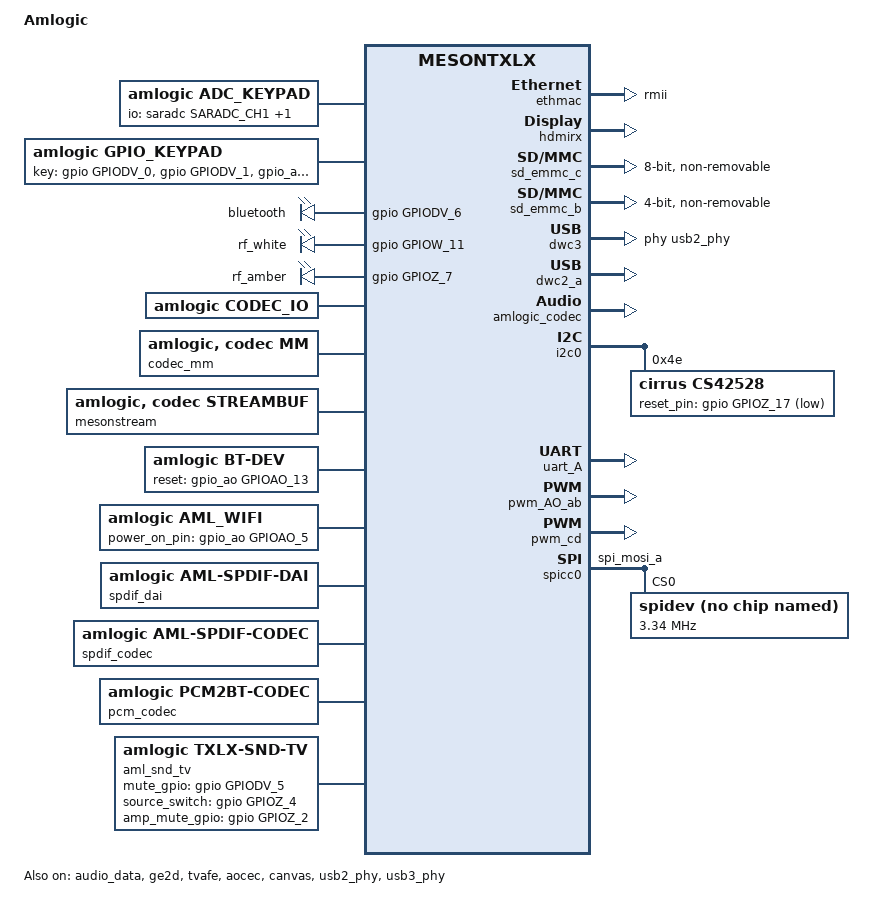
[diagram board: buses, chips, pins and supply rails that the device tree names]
/*
 * arch/arm64/boot/dts/amlogic/atom.dts
 *
 * Copyright (C) 2017 Amlogic, Inc. All rights reserved.
 *
 * This program is free software; you can redistribute it and/or modify
 * it under the terms of the GNU General Public License as published by
 * the Free Software Foundation; either version 2 of the License, or
 * (at your option) any later version.
 *
 * This program is distributed in the hope that it will be useful, but WITHOUT
 * ANY WARRANTY; without even the implied warranty of MERCHANTABILITY or
 * FITNESS FOR A PARTICULAR PURPOSE.  See the GNU General Public License for
 * more details.
 *
 */

/dts-v1/;
#include <dt-bindings/gpio/meson-txlx-gpio.h>
#include <dt-bindings/gpio/gpio.h>

#include "mesontxlx.dtsi"
#include "partition_mbox_normal.dtsi"

/ {
	model = "Amlogic";
	amlogic-dt-id = "atom";
	compatible = "amlogic, txlx";
	interrupt-parent = <&gic>;
	#address-cells = <2>;
	#size-cells = <2>;

	aliases {
		serial0 = &uart_AO;
		serial1 = &uart_A;
		serial2 = &uart_B;
		serial3 = &uart_C;
		serial4 = &uart_AO_B;
	};

	ion_dev {
		compatible = "amlogic, ion_dev";
		memory-region = <&ion_reserved>;
	};

	memory@00000000 {
		device_type = "memory";
		linux,usable-memory = <0x0 0x0 0x0 0x80000000>;
	};

	reserved-memory {
		#address-cells = <2>;
		#size-cells = <2>;
		ranges;
		/* global autoconfigured region for contiguous allocations */
		ramoops@0x07400000 {
			compatible = "ramoops";
			reg = <0x0 0x07400000 0x0 0x00100000>;
			record-size = <0x8000>;
			console-size = <0x8000>;
			ftrace-size = <0x20000>;
		};
		secmon_reserved:linux,secmon {
			compatible = "shared-dma-pool";
			reusable;
			size = <0x0 0x400000>;
			alignment = <0x0 0x400000>;
			alloc-ranges = <0x0 0x05000000 0x0 0x400000>;
		};

		//secos_reserved:linux,secos {
		//	status = "disabled";
		//	compatible = "amlogic, aml_secos_memory";
		//	reg = <0x0 0x05300000 0x0 0x2000000>;
		//	no-map;
		//};



		logo_reserved:linux,meson-fb {
			compatible = "shared-dma-pool";
			reusable;
			size = <0x0 0x800000>;
			alignment = <0x0 0x400000>;
			alloc-ranges = <0x0 0x7f800000 0x0 0x800000>;
		};

		//carveout_reserved:linux,carveout-reserve {
		//	compatible = "amlogic, idev-mem";
		//	size = <0x0 0x1000>;
		//};

		ion_reserved:linux,ion-dev {
			compatible = "shared-dma-pool";
			reusable;
			size = <0x0 0x7C00000>;
			alignment = <0x0 0x400000>;
		};

		/*di CMA pool */
		di_cma_reserved:linux,di_cma {
			compatible = "shared-dma-pool";
			reusable;
			/* buffer_size = 3621952(yuv422 8bit)
			 *  | 4736064(yuv422 10bit)
			 *  | 4179008(yuv422 10bit full pack mode)
			 * 10x3621952=34.6M(0x23) support 8bit
			 * 10x4736064=45.2M(0x2e) support 12bit
			 * 10x4179008=40M(0x28) support 10bit
			 */
			size = <0x0 0x02800000>;
			alignment = <0x0 0x400000>;
		};

		/* POST PROCESS MANAGER */
		ppmgr_reserved:linux,ppmgr {
			compatible = "amlogic, ppmgr_memory";
			size = <0x0 0x0>;
		};

		codec_mm_cma:linux,codec_mm_cma {
			compatible = "shared-dma-pool";
			reusable;
			/* ion_codec_mm max can alloc size 80M*/
			size = <0x0 0x13400000>;
			alignment = <0x0 0x400000>;
			linux,contiguous-region;
		};

		picdec_cma_reserved:linux,picdec {
			compatible = "shared-dma-pool";
			reusable;
			size = <0x0 0x0>;
			alignment = <0x0 0x0>;
			linux,contiguous-region;
		};

		/* codec shared reserved */
		codec_mm_reserved:linux,codec_mm_reserved {
			compatible = "amlogic, codec-mm-reserved";
			size = <0x0 0x0>;
			alignment = <0x0 0x100000>;
			//no-map;
		};

		demod_cma_reserved:linux,demod_cma {
			compatible = "shared-dma-pool";
			reusable;
			/* 5M */
			size = <0x0 0x0800000>;
			alignment = <0x0 0x400000>;
		};

		/*  vdin1 CMA pool */
		vdin1_cma_reserved:linux,vdin1_cma {
			compatible = "shared-dma-pool";
			linux,phandle = <5>;
			reusable;
			/* 1920x1080x2x4  =16+4 M */
			size = <0x0 0x01400000>;
			alignment = <0x0 0x400000>;
		};

		/*vbi reserved mem*/
		vbi_reserved:linux,vbi {
			compatible = "amlogic, vbi-mem";
			size = <0x0 0x100000>;
		};
	};

	/* for external keypad */
	adc_keypad {
		compatible = "amlogic, adc_keypad";
		status = "okay";
		key_name = "vol+","vol-","woofer_pairing";
		key_num = <3>;
		io-channels = <&saradc SARADC_CH1>,
					<&saradc SARADC_CH2>;
		io-channel-names = "key-chan-1", "key-chan-2";
		key_chan = <SARADC_CH1 SARADC_CH1 SARADC_CH2>;
		key_code = <115 114 600>;
		key_val = <0 180 0>; //val=voltage/1800mV*1023
		key_tolerance = <40 40 40>;
	};

	gpio_keypad{
	    compatible = "amlogic, gpio_keypad";
	    status = "okay";
	    scan_period = <20>;
	    key_num = <3>;
	    key_name = "source", "bt_paring", "mute";
	    key_code = <466 218 248>;
	    key-gpios = <&gpio GPIODV_0 GPIO_ACTIVE_HIGH
			&gpio GPIODV_1 GPIO_ACTIVE_HIGH
			&gpio_ao GPIOAO_3 GPIO_ACTIVE_HIGH>;
		detect_mode = <0>;/*0:polling mode, 1:irq mode*/
	};

	gpioleds {
		compatible = "gpio-leds";
		status = "okay";

		bluetooth {
			label = "bluetooth";
			gpios = <&gpio GPIODV_6 GPIO_ACTIVE_HIGH>;
			default-state = "off"; /* keep/on/off */
			linux,default-trigger = "none";
		};

		rf_white {
			label = "rf_white";
			gpios = <&gpio GPIOW_11 (GPIO_OPEN_DRAIN |
					GPIO_ACTIVE_HIGH)>;
			default-state = "off"; /* keep/on/off */
			linux,default-trigger = "none";
		};

		rf_amber {
			label = "rf_amber";
			gpios = <&gpio GPIOZ_7 GPIO_ACTIVE_HIGH>;
			default-state = "off"; /* keep/on/off */
			linux,default-trigger = "none";
		};

	};

	pwmleds {
		compatible = "pwm-leds";
		status = "disabled";
		pinctrl-names = "default";
		pinctrl-0 = <&pwmleds_pins>;

		sys {
			active-low;
			label = "sysled";
			max-brightness = <255>;
			pwms = <&pwm_AO_ab 0 50000 0>;
		};
	};

	ethmac: ethernet@0xff3f0000 {
		compatible = "amlogic, gxbb-eth-dwmac";
		status = "okay";
		reg = <0x0 0xff3f0000 0x0 0x10000
			0x0 0xff634540 0x0 0x8
			0x0 0xff634558 0x0 0xc
			0x0 0xffd01084 0x0 0x4>;
		interrupts = <0 8 1
				0 9 1>;

		phy-mode= "rmii";
		mc_val_internal_phy = <0x1804>;
		mc_val_external_phy = <0x1621>;
		interrupt-names = "macirq",
				"phyirq";
		clocks = <&clkc CLKID_ETH_CORE>;
		clock-names = "ethclk81";
		internal_phy = <1>;
	};

	vout {
		compatible = "amlogic, vout";
		dev_name = "vout";
		status = "okay";
		fr_auto_policy = <0>;
	};

	meson-fb {
		compatible = "amlogic, meson-txlx";
		memory-region = <&logo_reserved>;
		dev_name = "meson-fb";
		status = "okay";
		interrupts = <0 3 1
			0 89 1>;
		interrupt-names = "viu-vsync", "rdma";
		mem_size = <0x00800000 0x01800000 0x00100000>;
		/* uboot logo,fb0/fb1 memory size,if afbcd fb0=0x01851000*/
		display_mode_default = "1080p60hz";
		/* 0:VPU free scale 1:OSD free scale 2:OSD super scale */
		scale_mode = <1>;
		/* 1920*1080*4*3 = 0x17BB000 */
		display_size_default = <1920 1080 1920 3240 32>;
		pxp_mode = <0>; /** 0:normal mode 1:pxp mode */
		logo_addr = "0x7f800000";
	};

	ge2d {
		compatible = "amlogic, ge2d-txlx";
		dev_name = "ge2d";
		status = "okay";
		interrupts = <0 150 1>;
		interrupt-names = "ge2d";
		clocks = <&clkc CLKID_VAPB_MUX>,
			<&clkc CLKID_G2D>,
			<&clkc CLKID_GE2D_GATE>;
		clock-names = "clk_vapb_0",
			"clk_ge2d",
			"clk_ge2d_gate";
		reg = <0x0 0xff940000 0x0 0x10000>;
	};

	codec_io {
		compatible = "amlogic, codec_io";
		status = "okay";
		#address-cells=<2>;
		#size-cells=<2>;
		ranges;
		io_cbus_base{
			reg = <0x0 0xffd00000 0x0 0x100000>;
		};
		io_dos_base{
			reg = <0x0 0xff620000 0x0 0x10000>;
		};
		io_hiubus_base{
			reg = <0x0 0xff63c000 0x0 0x2000>;
		};
		io_aobus_base{
			reg = <0x0 0xff800000 0x0 0x10000>;
		};
		io_vcbus_base{
			reg = <0x0 0xff900000 0x0 0x40000>;
		};
		io_dmc_base{
			reg = <0x0 0xff638000 0x0 0x2000>;
		};
	};

	codec_mm {
		compatible = "amlogic, codec, mm";
		memory-region = <&codec_mm_cma &codec_mm_reserved>;
		dev_name = "codec_mm";
		status = "okay";
	};

	mesonstream {
		compatible = "amlogic, codec, streambuf";
		dev_name = "mesonstream";
		status = "okay";
		clocks = <&clkc CLKID_DOS_PARSER
			&clkc CLKID_DEMUX
			&clkc CLKID_DOS
			&clkc CLKID_VDEC_MUX
			&clkc CLKID_HCODEC_MUX
			&clkc CLKID_HEVC_MUX>;
		clock-names = "parser_top",
			"demux",
			"vdec",
			"clk_vdec_mux",
			"clk_hcodec_mux",
			"clk_hevc_mux";
	};

	vdec {
		compatible = "amlogic, vdec";
		dev_name = "vdec.0";
		status = "okay";
		interrupts = <0 3 1
			0 23 1
			0 32 1
			0 43 1
			0 44 1
			0 45 1>;
		interrupt-names = "vsync",
			"demux",
			"parser",
			"mailbox_0",
			"mailbox_1",
			"mailbox_2";
	};

	meson-amvideom {
		compatible = "amlogic, amvideom";
		dev_name = "amvideom";
		status = "okay";
		interrupts = <0 3 1>;
		interrupt-names = "vsync";
	};



	amvideocap {
		compatible = "amlogic, amvideocap";
		dev_name = "amvideocap.0";
		status = "disabled";
		max_size = <8>;//8M
	};

	picdec {
		compatible = "amlogic, picdec";
		memory-region = <&picdec_cma_reserved>;
		dev_name = "picdec";
		status = "disabled";
	};

	ppmgr {
		compatible = "amlogic, ppmgr";
		memory-region = <&ppmgr_reserved>;
		dev_name = "ppmgr";
		status = "okay";
	};

	deinterlace {
		compatible = "amlogic, deinterlace";
		status = "okay";
		/* 0:use reserved; 1:use cma; 2:use cma as reserved */
		flag_cma = <1>;
		//memory-region = <&di_reserved>;
		memory-region = <&di_cma_reserved>;
		interrupts = <0 46 1
				0 6 1>;
		interrupt-names = "de_irq";
		clocks = <&clkc CLKID_VPU_MUX>,
			<&clkc CLKID_FCLK_DIV4>,
			<&clkc CLKID_VPU_CLKB_TMP_COMP>,
			<&clkc CLKID_VPU_CLKB_COMP>;
		clock-names = "vpu_mux",
			"fclk_div4",
			"vpu_clkb_tmp_composite",
			"vpu_clkb_composite";
		clock-range = <250 500>;
		/* buffer-size = <3621952>;(yuv422 8bit) */
		buffer-size = <4179008>;/*yuv422 fullpack*/
		/* reserve-iomap = "true"; */
		/* if enable nr10bit, set nr10bit-support to 1 */
		nr10bit-support = <1>;
	};
	ionvideo {
		compatible = "amlogic, ionvideo";
		dev_name = "ionvideo";
		status = "okay";
	};

	amlvideo {
		compatible = "amlogic, amlvideo";
		dev_name = "amlvideo";
		status = "okay";
	};

	amlvideo2_0 {
		compatible = "amlogic, amlvideo2";
		dev_name = "amlvideo2";
		status = "okay";
		amlvideo2_id = <0>;
		cma_mode = <1>;
	};

	amlvideo2_1 {
		compatible = "amlogic, amlvideo2";
		dev_name = "amlvideo2";
		status = "okay";
		amlvideo2_id = <1>;
		cma_mode = <1>;
	};

	hdmirx {
		compatible = "amlogic, hdmirx_txlx";
		#address-cells=<1>;
		#size-cells=<1>;
		dev_name = "hdmirx";
		status = "okay";
		pinctrl-names = "hdmirx_pins";
		pinctrl-0 = <&hdmirx_a_mux &hdmirx_b_mux &hdmirx_d_mux>;
		repeat = <0>;
		interrupts = <0 56 1>;
		clocks = <&clkc CLKID_HDMIRX_MODET_COMP>,
			   <&clkc CLKID_HDMIRX_CFG_COMP>,
			   <&clkc CLKID_HDMIRX_ACR_COMP>,
			   <&clkc CLKID_HDMIRX_AUDMEAS_COMP>,
			   <&xtal>,
			   <&clkc CLKID_FCLK_DIV5>,
			   <&clkc CLKID_FCLK_DIV7>,
			   <&clkc CLKID_HDCP22_SKP_COMP>,
			   <&clkc CLKID_HDCP22_ESM_COMP>;
		//	   <&clkc CLK_AUD_PLL2FS>,
		//	   <&clkc CLK_AUD_PLL4FS>,
		//	   <&clkc CLK_AUD_OUT>;
		clock-names = "hdmirx_modet_clk",
			"hdmirx_cfg_clk",
				"hdmirx_acr_ref_clk",
				"hdmirx_audmeas_clk",
				"xtal",
				"fclk_div5",
				"fclk_div7",
				"hdcp_rx22_skp",
				"hdcp_rx22_esm";
		//		"hdmirx_aud_pll2fs",
		//		"hdmirx_aud_pll4f",
		//		"clk_aud_out";
		hdmirx_id = <0>;
		en_4k_2_2k = <0>;
		reg = <0x0 0xffd26000 0x0 0xa00000
			0x0 0xff63C000 0x0 0x2000
			0x0 0xffe0d000 0x0 0x2000
			0x0 0xff63e000 0x0 0x2000
			0x0 0x0 0x0 0x0
			0x0 0xff634400 0x0 0x2000
			0x0 0xff646000 0x0 0x2000>;
	};

	vdin0 {
		compatible = "amlogic, vdin";
		/*memory-region = <&vdin0_cma_reserved>;*/
		dev_name = "vdin0";
		status = "okay";
		reserve-iomap = "true";
		flag_cma = <1>;/*1:share with codec_mm;2:cma alone*/
		/* MByte, if 10bit disable: 64M(YUV422),
		 * if 10bit enable: 64*1.5 = 96M(YUV422)
		 * if support 4K2K-YUV444-10bit-WR:3840*2160*4*4 ~= 128M
		 * if support 4K2K-YUV444-10bit-WR:3840*2160*4*6 ~= 190M
		 * if support 4K2K-YUV422-10bit-wr:3840*2160*3*4 ~= 96M
		 * if support 4K2K-YUV422-8BIT-WR:3840*2160*2*4 ~= 64M
		 * if support 1080p-YUV422-8BIT-WR:1920*1080*2*4 ~= 16M
		 */
		cma_size = <190>;
		interrupts = <0 83 1>;
		rdma-irq = <2>;
		clocks = <&clkc CLKID_FCLK_DIV5>,
			<&clkc CLKID_VDIN_MEAS_COMP>;
		clock-names = "fclk_div5", "cts_vdin_meas_clk";
		vdin_id = <0>;
		/* vdin write mem color depth support:
		 * bit0:support 8bit
		 * bit1:support 9bit
		 * bit2:support 10bit
		 * bit3:support 12bit
		 * bit4:support yuv422 10bit full pack mode (from txl new add)
		 */
		tv_bit_mode = <21>;
	};

	vdin1 {
		compatible = "amlogic, vdin";
		memory-region = <&vdin1_cma_reserved>;
		dev_name = "vdin1";
		status = "okay";
		reserve-iomap = "true";
		flag_cma = <0>;/*1:share with codec_mm;0:cma alone*/
		interrupts = <0 85 1>;
		rdma-irq = <4>;
		clocks = <&clkc CLKID_FCLK_DIV5>,
			<&clkc CLKID_VDIN_MEAS_COMP>;
		clock-names = "fclk_div5", "cts_vdin_meas_clk";
		vdin_id = <1>;
		/* vdin write mem color depth support:
		 * bit0:support 8bit
		 * bit1:support 9bit
		 * bit2:support 10bit
		 * bit3:support 12bit
		 */
		tv_bit_mode = <1>;
	};

	tvafe {
		compatible = "amlogic, tvafe-txlx";
		/*memory-region = <&tvafe_cma_reserved>;*/
		dev_name = "tvafe";
		status = "okay";
		flag_cma = <1>;/*1:share with codec_mm;0:cma alone*/
		cma_size = <5>;/*MByte*/
		reg = <0x0 0xff642000 0x0 0x2000>;/*tvafe reg base*/
		reserve-iomap = "true";
		tvafe_id = <0>;
		//pinctrl-names = "default";
		/*!!particular sequence, no more and no less!!!*/
		tvafe_pin_mux = <
				3 /* TVAFE_CVBS_IN2, CVBS_IN0 = 0 */
				1 /* TVAFE_CVBS_IN0, CVBS_IN1 */
				2 /* TVAFE_CVBS_IN1, CVBS_IN2 */
				4 /* TVAFE_CVBS_IN3, CVBS_IN3 */
		>;
		clocks = <&clkc CLKID_DAC_CLK>;
		clock-names = "vdac_clk_gate";
	};

	vbi {
		compatible = "amlogic, vbi";
		memory-region = <&vbi_reserved>;
		dev_name = "vbi";
		status = "okay";
		interrupts = <0 83 1>;
		reserve-iomap = "true";
	};

	tvafe_avin_detect {
		compatible = "amlogic, tvafe_avin_detect";
		dev_name = "tvafe_avin_detect";
		status = "okay";
		device_mask = <1>;/*bit0:ch1;bit1:ch2*/
		interrupts = <0 12 1>,
				<0 13 1>;
	};

	amlvecm {
		compatible = "amlogic, vecm";
		dev_name = "aml_vecm";
		status = "okay";
		gamma_en = <0>;/*1:enabel ;0:disable*/
		wb_en = <0>;/*1:enabel ;0:disable*/
		cm_en = <0>;/*1:enabel ;0:disable*/
		wb_sel = <0>;/*1:mtx ;0:gainoff*/
		/*0: 709/601  1: bt2020*/
		tx_op_color_primary = <1>;
		/*1:enabel osd lut 100 table;0:disable*/
		cfg_en_osd_100 = <1>;
	};
	amdolby_vision {
		compatible = "amlogic, dolby_vision_txlx";
		dev_name = "aml_amdolby_vision_driver";
		status = "okay";
		tv_mode = <0>;/*1:enabel ;0:disable*/
	};
	amvenc_avc {
		compatible = "amlogic, amvenc_avc";
		//memory-region = <&amvenc_avc_reserved>;
		//memory-region = <&avc_cma_reserved>;
		dev_name = "amvenc_avc";
		status = "okay";
		interrupts = <0 45 1>;
		interrupt-names = "mailbox_2";
	};

	aml_atv_demod {
		compatible = "amlogic, aml_atv_demod";
		dev_name = "aml_atv_demod";
		status = "disabled";
		////pinctrl-names="atvdemod_agc";
		////pinctrl-0=<&atvdemod_agc>;
		reg = <0x0 0xff640000 0x0 0x2000
			   0x0 0xff648000 0x0 0x2000>;
		/* default:0x88188832;r840 on haier:0x48188832 */
		reg_23cf = <0x88188832>;
	};

	bt-dev {
		compatible = "amlogic, bt-dev";
		dev_name = "bt-dev";
		status = "okay";
		gpio_reset = <&gpio_ao GPIOAO_13 GPIO_ACTIVE_HIGH>;
		//gpio_en = <&gpio_ao GPIOAO_5 GPIO_ACTIVE_HIGH>;
	};

	rtc {
		compatible = "amlogic, aml_vrtc";
		alarm_reg_addr = <0xff8000a8>;
		timer_e_addr = <0xffd0f188>;
		init_date = "2015/01/01";
		status = "okay";
	};

	wifi {
		compatible = "amlogic, aml_wifi";
		dev_name = "aml_wifi";
		status = "okay";
		interrupt_pin = <&gpio_ao GPIOAO_4 GPIO_ACTIVE_HIGH>;
		interrupts = <0 68 4>;
		irq_trigger_type = "GPIO_IRQ_HIGH";
		dhd_static_buf;
		power_on_pin = <&gpio_ao GPIOAO_5 GPIO_ACTIVE_HIGH>;
		pinctrl-names = "default";
		pinctrl-0 = <&wifi_32k_pins>;
		pwm_config = <&wifi_pwm_conf>;
	};

	wifi_pwm_conf: wifi_pwm_conf {
		pwm_channel1_conf {
			pwms = <&pwm_cd MESON_PWM_1 30541 0>;
			duty-cycle = <15270>;
			times = <10>;
		};
		pwm_channel2_conf {
			pwms = <&pwm_cd MESON_PWM_3 30500 0>;
			duty-cycle = <15250>;
			times = <12>;
		};
	};

	sd_emmc_c: emmc@ffe07000 {
		status = "okay";
		compatible = "amlogic, meson-mmc-txlx";
		reg = <0x0 0xffe07000 0x0 0x2000>;
		interrupts = <0 218 1>;
		pinctrl-names = "emmc_clk_cmd_pins", "emmc_all_pins";
		pinctrl-0 = <&emmc_clk_cmd_pins>;
		pinctrl-1 = <&emmc_conf_pull_up &emmc_conf_pull_done>;
		clocks = <&clkc CLKID_SD_EMMC_C>,
			   <&clkc CLKID_SD_EMMC_C_P0_COMP>,
			   <&clkc CLKID_FCLK_DIV2>,
			   <&clkc CLKID_FCLK_DIV5>,
			   <&xtal>;
		clock-names = "core", "clkin0", "clkin1", "clkin2", "xtal";

		bus-width = <8>;
		cap-sd-highspeed;
		cap-mmc-highspeed;
		mmc-ddr-1_8v;
		mmc-hs200-1_8v;

		max-frequency = <200000000>;
		non-removable;
		disable-wp;
		emmc {
			status = "disabled";
			pinname = "emmc";
			ocr_avail = <0x200080>; /**VDD voltage 3.3 ~ 3.4 */
			caps = "MMC_CAP_8_BIT_DATA",
				 "MMC_CAP_MMC_HIGHSPEED",
				 "MMC_CAP_SD_HIGHSPEED",
				 "MMC_CAP_NONREMOVABLE",
				 "MMC_CAP_1_8V_DDR",
				 "MMC_CAP_HW_RESET",
				 "MMC_CAP_ERASE",
				 "MMC_CAP_CMD23";
			caps2 = "MMC_CAP2_HS200", "MMC_CAP2_HS400";
			f_min = <400000>;
			f_max = <200000000>;
			max_req_size = <0x20000>; /**128KB*/
			gpio_dat3 = <&gpio BOOT_3 GPIO_ACTIVE_HIGH>;
			hw_reset = <&gpio BOOT_9 GPIO_ACTIVE_HIGH>;
			card_type = <1>;
			/* 1:mmc card(include eMMC),
			 * 2:sd card(include tSD)
			 */
		};
	};

	sd_emmc_b: sd@ffe05000 {
		status = "okay";
		compatible = "amlogic, meson-mmc-txlx";
		reg = <0x0 0xffe05000 0x0 0x2000>;
		interrupts = <0 217 4>;
		pinctrl-names = "sd_clk_cmd_pins", "sd_all_pins";
		pinctrl-0 = <&sd_clk_cmd_pins>;
		pinctrl-1 = <&sd_all_pins>;
		clocks = <&clkc CLKID_SD_EMMC_B>,
			   <&clkc CLKID_SD_EMMC_B_P0_COMP>,
			   <&clkc CLKID_FCLK_DIV2>,
			   <&clkc CLKID_FCLK_DIV5>,
			   <&xtal>;
		clock-names = "core", "clkin0", "clkin1", "clkin2", "xtal";

		bus-width = <4>;
		cap-sd-highspeed;
		cap-mmc-highspeed;
		max-frequency = <100000000>;
		non-removable;
		disable-wp;
		sd {
			status = "disabled";
			pinname = "sd";
			ocr_avail = <0x200080>; /**VDD voltage 3.3 ~ 3.4 */
			caps = "MMC_CAP_4_BIT_DATA",
				 "MMC_CAP_MMC_HIGHSPEED",
				 "MMC_CAP_SD_HIGHSPEED",
				 "MMC_CAP_NONREMOVABLE",
				 "MMC_CAP_UHS_SDR12",
				 "MMC_CAP_UHS_SDR25",
				 "MMC_CAP_UHS_SDR50",
				 "MMC_CAP_UHS_SDR104",
				 "MMC_PM_KEEP_POWER",
				 "MMC_CAP_SDIO_IRQ";
			f_min = <400000>;
			f_max = <200000000>;
			max_req_size = <0x20000>; /**128KB*/
			card_type = <3>;
			/* 3:sdio device(ie:sdio-wifi),
			 * 4:SD combo (IO+mem) card
			 * 5:NON sdio device(means sd/mmc card)
			 */
		};
	};

	unifykey {
		compatible = "amlogic, unifykey";
		status = "okay";

		unifykey-num = <21>;
		unifykey-index-0 = <&keysn_0>;
		unifykey-index-1 = <&keysn_1>;
		unifykey-index-2 = <&keysn_2>;
		unifykey-index-3 = <&keysn_3>;
		unifykey-index-4 = <&keysn_4>;
		unifykey-index-5 = <&keysn_5>;
		unifykey-index-6 = <&keysn_6>;
		unifykey-index-7 = <&keysn_7>;
		unifykey-index-8 = <&keysn_8>;
		unifykey-index-9 = <&keysn_9>;
		unifykey-index-10= <&keysn_10>;
		unifykey-index-11 = <&keysn_11>;
		unifykey-index-12 = <&keysn_12>;
		unifykey-index-13 = <&keysn_13>;
		unifykey-index-14 = <&keysn_14>;
		unifykey-index-15 = <&keysn_15>;
		unifykey-index-16 = <&keysn_16>;
		unifykey-index-17 = <&keysn_17>;
		unifykey-index-18 = <&keysn_18>;
		unifykey-index-19 = <&keysn_19>;
		unifykey-index-20 = <&keysn_20>;

		keysn_0: key_0{
			key-name = "usid";
			key-device = "normal";
			key-permit = "read","write","del";
		};
		keysn_1:key_1{
			key-name = "mac";
			key-device  = "normal";
			key-permit = "read","write","del";
		};
		keysn_2:key_2{
			key-name = "hdcp";
			key-device = "secure";
			key-type  = "sha1";
			key-permit = "read","write","del";
		};
		keysn_3:key_3{
			key-name = "secure_boot_set";
			key-device = "efuse";
			key-permit = "write";
		};
		keysn_4:key_4{
			key-name = "mac_bt";
			key-device = "normal";
			key-permit = "read","write","del";
			key-type  = "mac";
		};
		keysn_5:key_5{
			key-name = "mac_wifi";
			key-device = "normal";
			key-permit = "read","write","del";
			key-type  = "mac";
		};
		keysn_6:key_6{
			key-name = "hdcp2_tx";
			key-device = "normal";
			key-permit = "read","write","del";
		};
		keysn_7:key_7{
			key-name = "hdcp2_rx";
			key-device = "normal";
			key-permit = "read","write","del";
		};
		keysn_8:key_8{
			key-name = "widevinekeybox";
			key-device = "secure";
			key-type = "sha1";
			key-permit = "read","write","del";
		};
		keysn_9:key_9{
			key-name = "deviceid";
			key-device = "normal";
			key-permit = "read","write","del";
		};
		keysn_10:key_10{
			key-name = "hdcp22_fw_private";
			key-device = "secure";
			key-permit = "read","write","del";
		};
		keysn_11:key_11{
			key-name = "hdcp22_rx_private";
			key-device = "secure";
			key-permit = "read","write","del";
		};
		keysn_12:key_12{
			key-name = "hdcp22_rx_fw";
			key-device = "normal";
			key-permit = "read","write","del";
		};
		keysn_13:key_13{
			key-name = "hdcp14_rx";
			key-device = "normal";
			key-type  = "sha1";
			key-permit = "read","write","del";
		};
		keysn_14:key_14{
			key-name = "prpubkeybox";// PlayReady
			key-device = "secure";
			key-permit = "read","write","del";
		};
		keysn_15:key_15{
			key-name = "prprivkeybox";// PlayReady
			key-device = "secure";
			key-permit = "read","write","del";
		};
		keysn_16: key_16{
			key-name = "region_code";
			key-device = "normal";
			key-permit = "read","write","del";
		};
		keysn_17:key_17{
			key-name = "attestationkeybox";// attestation key
			key-device = "secure";
			key-permit = "read","write","del";
		};
		keysn_18:key_18{
			key-name = "hdcp22_rprx_fw";
			key-device = "normal";
			key-permit = "read","write","del";
		};
		keysn_19:key_19{
			key-name = "hdcp22_rprp_fw";
			key-device = "normal";
			key-permit = "read","write","del";
		};
		keysn_20:key_20{
			key-name = "hdcp22_rp_private";
			key-device = "secure";
			key-permit = "read","write","del";
		};

	}; /* End unifykey */

	vdac {
		compatible = "amlogic, vdac";
		dev_name = "vdac";
		status = "okay";
	};

	cvbsout {
		compatible = "amlogic, cvbsout-txlx";
		dev_name = "cvbsout";
		status = "okay";
		clocks = <&clkc CLKID_VCLK2_ENCI
			&clkc CLKID_VCLK2_VENCI0
			&clkc CLKID_VCLK2_VENCI1
			&clkc CLKID_DAC_CLK>;
		clock-names = "venci_top_gate",
			"venci_0_gate",
			"venci_1_gate",
			"vdac_clk_gate";

		/* performance: reg_address, reg_value */
		performance = <0x1b56  0x343
			0x1b05  0xf4
			0x1c59  0xfc48
			0x1b12  0x8c00
			0xffff  0x0>; /* ending flag */
	};

	amhdmitx: amhdmitx {
		compatible = "amlogic, amhdmitx";
		dev_name = "amhdmitx";
		status = "okay";
		pinctrl-names="default", "hdmitx_i2c";
		pinctrl-0=<&hdmitx_hpd &hdmitx_ddc>;
		pinctrl-1=<&hdmitx_hpd_gpio &i2c2_h_pins>;
		clocks = <&clkc CLKID_HDCP22_SKP_COMP>,
			     <&clkc CLKID_HDCP22_ESM_COMP>;
		clock-names = "hdcp22_tx_skp",
				      "hdcp22_tx_esm";
		/* HPD, 57 + 32 = 89; CEC, 151 + 32 = 183*/
		interrupts = <0 57 1>;
		interrupt-names = "hdmitx_hpd";
		/* 0:M8B 1:GXBB 2:GXTVBB 3:GXL 4:GXM
		 * 5:TXL 6:TXLX 7:AXG 8:GXLX 9:TXHD
		 */
		ic_type = <6>;
		//gpio_i2c_en = <0>;
		//repeater_tx = <0x1>;
		//#address-cells = <2>;
		//#size-cells = <2>;
		//ranges;
	};

	i2c_gpio: i2c_gpio {
		compatible = "i2c-gpio";
		dev_name = "i2c-gpio";
		status = "disabled";
		i2c-gpio,delay-us = <10>; /* 50 kHz */
		gpios = <&gpio GPIOH_2 0
			&gpio GPIOH_3 0>;
		#address-cells = <2>;
		#size-cells = <2>;
		i2c-gpio,timeout-ms = <10>;
		i2c_gpio_edid: i2c_gpio_edid {
			compatible = "i2c-gpio";
			reg = <0x50 0x0 0x0 0x0>;
		};
	};

	aocec: aocec {
		compatible = "amlogic, aocec-txlx";
		device_name = "aocec";
		status = "okay";
		vendor_name = "Amlogic"; /* Max Chars: 8     */
		/* Refer to the following URL at:
		 * http://standards.ieee.org/develop/regauth/oui/oui.txt
		 */
		vendor_id = <0x000000>;
		product_desc = "TXLX"; /* Max Chars: 16    */
		cec_osd_string = "AML_TV"; /* Max Chars: 14    */
		port_num = <4>;	/*all port number*/
		/*ee_cec;*/
		cec_sel = <2>;
		output = <1>;
		arc_port_mask = <0x8>;
		interrupts = <0 205 1
					0 199 1>;
		interrupt-names = "hdmi_aocecb","hdmi_aocec";
		pinctrl-names = "default","hdmitx_aocecb","cec_pin_sleep";
		pinctrl-0=<&hdmitx_aocec &hdmitx_aocecb1>;
		pinctrl-1=<&hdmitx_aocec &hdmitx_aocecb1>;
		pinctrl-2=<&hdmitx_aocec &hdmitx_aocecb1>;
		reg = <0x0 0xFF80023c 0x0 0x4
		       0x0 0xFF800000 0x0 0x400>;
		reg-names = "ao_exit","ao";
	};


	canvas {
		compatible = "amlogic, meson, canvas";
		dev_name = "amlogic-canvas";
		status = "okay";
		reg = <0x0 0xff638000 0x0 0x2000>;
	};

	rdma {
		compatible = "amlogic, meson, rdma";
		dev_name = "amlogic-rdma";
		status = "okay";
		interrupts = <0 89 1>;
		interrupt-names = "rdma";
	};

	dwc3: dwc3@ff500000 {
		compatible = "synopsys, dwc3";
		status = "okay";
		reg = <0x0 0xff500000 0x0 0x100000>;
		interrupts = <0 30 4>;
		usb-phy = <&usb2_phy>, <&usb3_phy>;
		cpu-type = "gxl";
		clock-src = "usb3.0";
	};

	usb2_phy: usb2phy@ffe09000 {
		compatible = "amlogic, amlogic-new-usb2";
		status = "okay";
		portnum = <4>;
		reg = <0x0 0xffe09000 0x0 0x80
			0x0 0xffd01008 0x0 0x4>;
	};

	usb3_phy: usb3phy@ffe09080 {
		compatible = "amlogic, amlogic-new-usb3";
		status = "okay";
		portnum = <0>;
		reg = <0x0 0xffe09080 0x0 0x20>;
	};

	dwc2_a {
		compatible = "amlogic, dwc2";
		device_name = "dwc2_a";
		reg = <0x0 0xff400000 0x0 0x40000>;
		status = "okay";
		interrupts = <0 31 4>;
		pl-periph-id = <0>; /** lm name */
		clock-src = "usb0"; /** clock src */
		port-id = <0>;  /** ref to mach/usb.h */
		port-type = <2>;        /** 0: otg, 1: host, 2: slave */
		port-speed = <0>; /** 0: default, high, 1: full */
		port-config = <0>; /** 0: default */
		/*0:default,1:single,2:incr,3:incr4,4:incr8,5:incr16,6:disable*/
		port-dma = <0>;
		port-id-mode = <0>; /** 0: hardware, 1: sw_host, 2: sw_slave*/
		usb-fifo = <728>;
		cpu-type = "gxl";
		/** 0: normal, 1: otg+dwc3 host only, 2: otg+dwc3 device only*/
		controller-type = <1>;
		phy-reg = <0xffe09000>;
		phy-reg-size = <0xa0>;
		clocks = <&clkc CLKID_USB_GENERAL
					&clkc CLKID_USB1_TO_DDR>;
		clock-names = "usb_general",
						"usb1";
	};

	/* Sound iomap */
	aml_snd_iomap {
		compatible = "amlogic, meson-snd-iomap";
		status = "okay";
		#address-cells=<2>;
		#size-cells=<2>;
		ranges;
		io_audin_base {
			reg = <0x0 0xffd03000 0x0 0x100000>;
		};
		io_aiu_base {
			reg = <0x0 0xFFCFFC00 0x0 0x100000>;
		};
		io_eqdrc_base {
			reg = <0x0 0xFFCFF000 0x0 0x100000>;
		};
		io_hiu_reset_base {
			reg = <0x0 0xFFCFCC00 0x0 0x100000>;
		};
		io_isa_base {
			reg = <0x0 0xFFD05800 0x0 0x100000>;
		};
	};

	/* AUDIO DEVICES */
	i2s_dai: I2S {
		#sound-dai-cells = <0>;
		/* config mpll whether same with audin */
		clocks = <&clkc CLKID_MPLL3>,
			<&clkc CLKID_AMCLK_COMP>,
			<&clkc CLKID_AIU_GLUE>,
			<&clkc CLKID_I2S_OUT>,
			<&clkc CLKID_AMCLK_MEASURE>,
			<&clkc CLKID_AIFIFO2>,
			<&clkc CLKID_MIXER>,
			<&clkc CLKID_MIXER_IFACE>,
			<&clkc CLKID_ADC>,
			<&clkc CLKID_AIU_TOP>,
			<&clkc CLKID_AOCLK_GATE>,
			<&clkc CLKID_I2S_SPDIF>,
			<&clkc CLKID_DAC_CLK>;
		clock-names = "mpll",
			"mclk",
			"top_glue",
			"i2s_out",
			"amclk_measure",
			"aififo2",
			"aud_mixer",
			"mixer_reg",
			"adc",
			"top_level",
			"aoclk",
			"aud_in",
			"vdac_clk";
		compatible = "amlogic, aml-i2s-dai";
	};

	i2s2_dai: I2S2 {
		#sound-dai-cells = <0>;
		/* config mpll whether same with aiu */
		clocks = <&clkc CLKID_MPLL2>,
			<&clkc CLKID_AUDIN_MCLK_COMP>,
			<&clkc CLKID_AUDIN_SCLK_COMP>,
			<&clkc CLKID_AUDIN_LRCLK_COMP>;
		clock-names = "audin_mpll",
			"audin_mclk",
			"audin_sclk",
			"audin_lrclk";
		compatible = "amlogic, aml-i2s2-dai";
	};

	spdif_dai: SPDIF {
		#sound-dai-cells = <0>;
		compatible = "amlogic, aml-spdif-dai";
		clocks = <&clkc CLKID_MPLL1>,
			<&clkc CLKID_IEC958_INT_COMP>,
			<&clkc CLKID_AMCLK_COMP>,
			<&clkc CLKID_IEC958_MUX>,
			<&clkc CLKID_CLK81>,
			<&clkc CLKID_IEC958>,
			<&clkc CLKID_IEC958_GATE>;
		clock-names =
			"mpll1",
			"i958",
			"mclk",
			"spdif",
			"clk_81",
			"iec958",
			"iec958_amclk";
	};

	pcm_dai: PCM {
		#sound-dai-cells = <0>;
		compatible = "amlogic, aml-pcm-dai";
		pinctrl-names = "audio_pcm";
		/* disable pcm pin mux temporary, enable it if necessary */
		/*pinctrl-0 = <&aml_audio_pcm>;*/
		clocks = <&clkc CLKID_MPLL0>,
			<&clkc CLKID_PCM_MCLK_COMP>,
			<&clkc CLKID_PCM_SCLK_COMP>;
		clock-names = "mpll0", "pcm_mclk", "pcm_sclk";
		pcm_mode = <1>;	/* 0=slave mode, 1=master mode */
	};

	i2s_plat: i2s_platform {
		compatible = "amlogic, aml-i2s";
		interrupts = <0 29 1>;
	};

	pcm_plat: pcm_platform {
		compatible = "amlogic, aml-pcm";
	};

	spdif_codec: spdif_codec{
		#sound-dai-cells = <0>;
		compatible = "amlogic, aml-spdif-codec";
		pinctrl-names = "audio_spdif_in";
		pinctrl-0 = <&audio_spdif_in_pins>;
	};

	pcm_codec: pcm_codec{
		#sound-dai-cells = <0>;
		compatible = "amlogic, pcm2BT-codec";
	};
	/* end of AUDIO DEVICES */

	/* AUDIO board specific */
	dummy_codec:dummy{
		#sound-dai-cells = <0>;
		compatible = "amlogic, aml_dummy_codec";
		status = "okay";
	};

	amlogic_codec:txlx_acodec{
		#sound-dai-cells = <0>;
		compatible = "amlogic, txlx_acodec";
		reg = <0x0 0xFF632000 0x0 0x1c>;
		status = "okay";
	};

	aml_snd_tv {
		compatible = "amlogic, txlx-snd-tv";
		status = "okay";
		aml-sound-card,format = "i2s";
		aml_sound_card,name = "AML-TVAUDIO";
		pinctrl-names = "audio_i2s";
		pinctrl-0 = <&aml_audio_i2s>;
		/*avout mute gpio*/
		mute_gpio-gpios = <&gpio GPIODV_5 GPIO_ACTIVE_HIGH>;
		/*switch ARC_IN & SPDIF_IN*/
		source_switch-gpios = <&gpio GPIOZ_4 GPIO_ACTIVE_HIGH>;
		source_switch_inv = <1>;
		sleep_time = <100>;
		/*analog amp mute*/
		amp_mute_gpio-gpios = <&gpio GPIOZ_2 GPIO_ACTIVE_HIGH>;
		/*aux_dev = <&cs42528>;*/
		cpu_list = <&cpudai0 &cpudai1 &cpudai2>;
		codec_list = <&codec0 &codec1 &codec2>;
		plat_list = <&i2s_plat &i2s_plat &i2s_plat>;
		cpudai0: cpudai0 {
			sound-dai = <&i2s_dai>;
		};
		cpudai1: cpudai1 {
			sound-dai = <&spdif_dai>;
		};
		cpudai2: cpudai2 {
			sound-dai = <&i2s2_dai>;
		};
		codec0: codec0 {
			sound-dai = <&cs42528>;
		};
		codec1: codec1 {
			sound-dai = <&spdif_codec>;
		};
		codec2: codec2 {
			sound-dai = <&dummy_codec>;
		};
		Channel_Mask {
			/*i2s has 4 pins, 8channel, mux output*/
			Speaker_Channel_Mask = "i2s_2/3";
			DAC0_Channel_Mask = "i2s_0/1";
			DAC1_Channel_Mask = "i2s_0/1";
			EQ_DRC_Channel_Mask = "i2s_0/1";
			Spdif_samesource_Channel_Mask = "i2s_0/1";
		};
	};

	amaudio2 {
		compatible = "amlogic, aml_amaudio2";
		status = "okay";
		interrupts = <0 48 1>;
	};
	/* end of AUDIO board specific */

	dvb {
		compatible = "amlogic, dvb";
		dev_name = "dvb";
		status = "disabled";
		/*"parallel","serial","disable"*/
		ts2 = "parallel";
		ts2_control = <0>;
		ts2_invert = <0>;
		//resets = <&clock GCLK_IDX_DEMUX
		//		&clock GCLK_IDX_ASYNC_FIFO
		//		&clock GCLK_IDX_AHB_ARB0
		//		&clock GCLK_IDX_U_PARSER_TOP>;
		//reset-names = "demux", "asyncfifo", "ahbarb0", "uparsertop";
	};

	aml_sensor0: aml-sensor@0 {
		compatible = "amlogic, aml-thermal";
		device_name = "thermal";
		status = "disabled";
		#thermal-sensor-cells = <1>;
		cooling_devices {
			cpufreq_cool_cluster0 {
				min_state = <1000000>;
				dyn_coeff = <140>;
				cluster_id = <0>;
				node_name = "cpus";
				device_type = "cpufreq";
			};
			cpucore_cool_cluster0 {
				min_state = <1>;
				dyn_coeff = <0>;
				cluster_id = <0>;
				node_name = "cpu_core_cluster0";
				device_type = "cpucore";
			};
			gpufreq_cool {
				min_state = <400>;
				dyn_coeff = <437>;
				cluster_id = <0>;
				node_name = "mali";
				device_type = "gpufreq";
			};
			gpucore_cool {
				min_state = <1>;
				dyn_coeff = <0>;
				cluster_id = <0>;
				node_name = "thermal_gpu_cores";
				device_type = "gpucore";
			};
		};
		cpu_cluster0:cpu_core_cluster0 {
			#cooling-cells = <2>; /* min followed by max */
		};
		gpucore:thermal_gpu_cores {
			#cooling-cells = <2>; /* min followed by max */
		};
	};

	dvb {
		compatible = "amlogic, dvb";
		dev_name = "dvb";
		status = "disabled";
		/*"parallel","serial","disable"*/
		ts2 = "parallel";
		ts2_control = <0>;
		ts2_invert = <0>;
		//resets = <&clock GCLK_IDX_DEMUX
		//		&clock GCLK_IDX_ASYNC_FIFO
		//		&clock GCLK_IDX_AHB_ARB0
		//		&clock GCLK_IDX_U_PARSER_TOP>;
		//reset-names = "demux", "asyncfifo", "ahbarb0", "uparsertop";
	};

	dvbfe {
		compatible = "amlogic, dvbfe";
		dev_name = "dvbfe";
		status = "disabled";
		dtv_demod0 = "AMLDEMOD";
		fe0_dtv_demod = <0>;
		fe0_ts = <2>;
		fe0_dev = <0>;
		dtv_demod0_mem = <0>;
		dtv_demod0_spectrum = <1>;
		dtv_demod0_cma_flag = <1>;
		dtv_demod0_cma_mem_size = <8>;
		memory-region = <&demod_cma_reserved>;//<&demod_reserved>;
		tuner0 = "si2151_tuner";
		tuner0_i2c_adap_id = <2>;
		tuner0_i2c_addr = <0x60>;
		//tuner0_reset_value = <0>;
		//tuner0_reset_gpio =  "GPIOY_10" ;  /*GPIOX_8   76*/
		fe0_tuner = <0>;
		atv_demod0 = "aml_atv_demod";
		fe0_atv_demod = <0>;
	};

	thermal-zones {
		soc_thermal {
			polling-delay = <1000>;
			polling-delay-passive = <100>;
			sustainable-power = <2150>;

			thermal-sensors = <&aml_sensor0 3>;

			trips {
				switch_on: trip-point@0 {
					temperature = <70000>;
					hysteresis = <1000>;
					type = "passive";
				};
				control: trip-point@1 {
					temperature = <80000>;
					hysteresis = <1000>;
					type = "passive";
				};
				hot: trip-point@2 {
					temperature = <85000>;
					hysteresis = <5000>;
					type = "hot";
				};
				critical: trip-point@3 {
					temperature = <260000>;
					hysteresis = <1000>;
					type = "critical";
				};
			};

			cooling-maps {
				cpufreq_cooling_map {
					trip = <&control>;
					cooling-device = <&cpus 0 4>;
					contribution = <1024>;
				};
				cpucore_cooling_map {
					trip = <&control>;
					cooling-device = <&cpu_cluster0 0 3>;
					contribution = <1024>;
				};
				gpufreq_cooling_map {
					trip = <&control>;
					//cooling-device = <&gpu 0 4>;
					contribution = <1024>;
				};
				gpucore_cooling_map {
					trip = <&control>;
					cooling-device = <&gpucore 0 2>;
					contribution = <1024>;
				};
			};
		};
	};

}; /* end of / */

&i2c0 {
	status = "okay";
	pinctrl-names="default";
	pinctrl-0=<&i2c0_z_pins>;

	tas5707: tas5707@36 {
		compatible = "ti,tas5707";
		#sound-dai-cells = <0>;
		codec_name = "tas5707";
		reg = <0x1B>;
		reset_pin = <&gpio GPIOZ_13 GPIO_ACTIVE_LOW>;
		eq_enable = <0>;
		drc_enable = <0>;
		status = "disable";
	};
	cs42528: cs42528@4E {
		compatible = "cirrus,cs42528";
		#sound-dai-cells = <0>;
		codec_name = "cs42528";
		reg = <0x4E>;
		reset_pin = <&gpio GPIOZ_17 GPIO_ACTIVE_LOW>;
		status = "okay";
	};
};

&pinctrl_periphs {
	/*i2s*/
	aml_audio_i2s: aml_audio_i2s {
		mux {
			groups = "i2s_mclk_z",
				"i2s_sclk_z",
				"i2s_lrclk_z",
				"i2s_dout01_z",
				"i2s_dout23_z15",
				"i2s_dout45_z",
				"i2s_din67_z19",
				"i2s_lrclk_h",
				"i2s_sclk_h",
				"i2s_din01_h6"
				//, "i2s_dout67_z19"
				//, "i2s_din23_h5"
				//, "i2s_din23_h5"
				//, "i2s_din67_h0"
				;
			function = "i2s";
		};
	};
	/*spdif*/
	audio_spdif_in_pins: audio_spdif_in_pins {
	    mux {
			groups = "spdif_in_z18";
			function = "spdif_in";
		};
	};
	/*pcm*/
	aml_audio_pcm: aml_audio_pcm {
		mux {
			groups =
				"pcm_clk_a_dv",
				"pcm_fs_a_dv",
				"pcm_in_a_dv",
				"pcm_out_a_dv";
			function = "pcm_a";
		};
	};
	spi_a_pins: spi_a {
		mux {
			groups = "spi_mosi_a";
			function = "spi_a";
		};
	};
};

&uart_A {
	status = "okay";
};

&audio_data{
	status = "okay";
};

&pwm_AO_ab {
	status = "okay";
};

&pwm_cd {
	status = "okay";
};

&spicc0 {
	status = "okay";
	pinctrl-names = "default";
	pinctrl-0 = <&spi_a_pins>;
	//cs-gpios = <&gpio GPIOZ_3 0>;
	spidev {
	    compatible = "rohm,dh2228fv";
	    status = "okay";
	    reg = <0>;
	    spi-max-frequency = <3340000>;
	};
};

